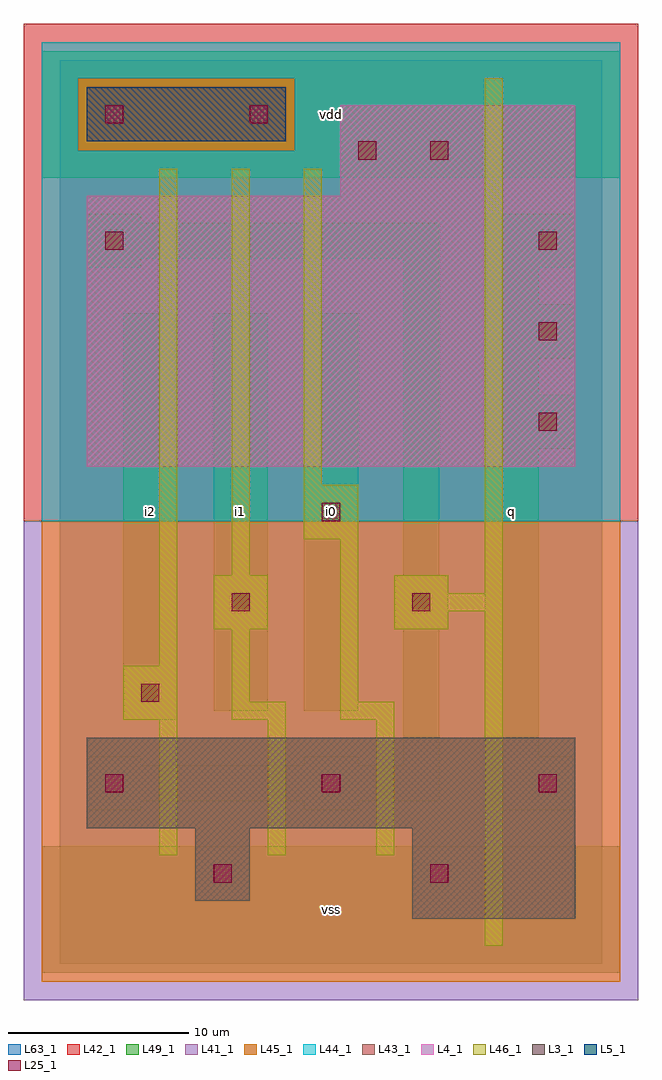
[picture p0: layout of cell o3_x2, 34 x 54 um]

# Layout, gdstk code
import gdstk
lib = gdstk.Library(unit=1e-6, precision=1e-09)
def R(c, l, rs):  # rectangles x0, y0, x1, y1
    for r in rs: c.add(gdstk.rectangle(r[:2], r[2:], *l))
def A(c, l, x, y, w, h, nx, ny, dx, dy):  # array of equal rectangles
    R(c, l, [(x+i*dx, y+j*dy, x+i*dx+w, y+j*dy+h) for i in range(nx) for j in range(ny)])
L3_1 = (3, 1)
L4_1 = (4, 1)
L5_1 = (5, 1)
L25_1 = (25, 1)
L41_1 = (41, 1)
L42_1 = (42, 1)
L43_1 = (43, 1)
L44_1 = (44, 1)
L45_1 = (45, 1)
L46_1 = (46, 1)
L49_1 = (49, 1)
L63_1 = (63, 1)

o3_x2 = lib.new_cell('o3_x2')
R(o3_x2, L3_1, [(19.5,2.5,28.5,7.5), (7.5,3.5,10.5,7.5), (1.5,7.5,28.5,12.5)])
R(o3_x2, L4_1, [(1.5,27.5,28.5,42.5), (15.5,42.5,28.5,47.5)])
R(o3_x2, L5_1, [(1.5,45.5,12.5,48.5)])
A(o3_x2, L25_1, 2.5, 9.5, 1, 1, 3, 1, 12, 0)
A(o3_x2, L25_1, 26.5, 29.5, 1, 1, 1, 3, 0, 5)
R(o3_x2, L25_1, [(8.5,4.5,9.5,5.5), (20.5,4.5,21.5,5.5), (4.5,14.5,5.5,15.5), (9.5,19.5,10.5,20.5), (19.5,19.5,20.5,20.5), (14.5,24.5,15.5,25.5), (2.5,39.5,3.5,40.5), (16.5,44.5,17.5,45.5), (20.5,44.5,21.5,45.5), (2.5,46.5,3.5,47.5), (10.5,46.5,11.5,47.5)])
R(o3_x2, L41_1, [(-2,-2,32,24.5)])
R(o3_x2, L42_1, [(-2,24.5,32,52)])
R(o3_x2, L43_1, [(19.5,2.5,28.5,7.5), (7.5,3.5,10.5,7.5), (1.5,7.5,28.5,12.5), (1.5,27.5,28.5,42.5), (15.5,42.5,28.5,47.5), (1.5,45.5,12.5,48.5)])
R(o3_x2, L44_1, [(-1,24.5,31,45), (-1,45,1,49), (13,45,31,49), (-1,49,31,51)])
R(o3_x2, L45_1, [(-1,-1,31,24.5), (1,45,13,49)])
A(o3_x2, L46_1, 5.5, 6, 1, 7.5, 3, 1, 6, 0)
R(o3_x2, L46_1, [(23.5,1,24.5,19.5), (3.5,13.5,6.5,16.5), (9.5,13.5,12.5,14.5), (15.5,13.5,18.5,14.5), (9.5,14.5,10.5,18.5), (15.5,14.5,16.5,23.5), (5.5,16.5,6.5,44), (8.5,18.5,11.5,21.5), (18.5,18.5,21.5,19.5), (18.5,19.5,24.5,20.5), (18.5,20.5,21.5,21.5), (23.5,20.5,24.5,49), (9.5,21.5,10.5,44), (13.5,23.5,16.5,26.5), (13.5,26.5,14.5,44)])
A(o3_x2, L49_1, 23.5, 28.5, 5, 3, 1, 3, 0, 5)
R(o3_x2, L49_1, [(-1,-0.5,31,6.5), (1.5,8.5,4.5,9), (13.5,8.5,16.5,9), (23.5,8.5,28.5,11.5), (1.5,9,21,11), (1.5,11,4.5,11.5), (13.5,11,16.5,11.5), (19,11,21,18.5), (23.5,11.5,26.5,28.5), (3.5,13.5,6.5,36), (8.5,14,11.5,36), (13.5,14,16.5,36), (18.5,18.5,21.5,21.5), (19,21.5,21,39), (23.5,31.5,26.5,33.5), (23.5,36.5,26.5,38.5), (1.5,38.5,4.5,39), (1.5,39,21,41), (1.5,41,4.5,41.5), (-1,43.5,31,50.5)])
R(o3_x2, L63_1, [(0,0,30,50)])
o3_x2.add(gdstk.Label('i2', (5,25), layer=49, texttype=1))
o3_x2.add(gdstk.Label('i2', (5,25), layer=49, texttype=1))
o3_x2.add(gdstk.Label('i1', (10,25), layer=49, texttype=1))
o3_x2.add(gdstk.Label('i1', (10,25), layer=49, texttype=1))
o3_x2.add(gdstk.Label('vss', (15,3), layer=49, texttype=1))
o3_x2.add(gdstk.Label('vss', (15,3), layer=49, texttype=1))
o3_x2.add(gdstk.Label('i0', (15,25), layer=49, texttype=1))
o3_x2.add(gdstk.Label('i0', (15,25), layer=49, texttype=1))
o3_x2.add(gdstk.Label('vdd', (15,47), layer=49, texttype=1))
o3_x2.add(gdstk.Label('vdd', (15,47), layer=49, texttype=1))
o3_x2.add(gdstk.Label('q', (25,25), layer=49, texttype=1))
o3_x2.add(gdstk.Label('q', (25,25), layer=49, texttype=1))

lib.write_gds('o3_x2.gds')
